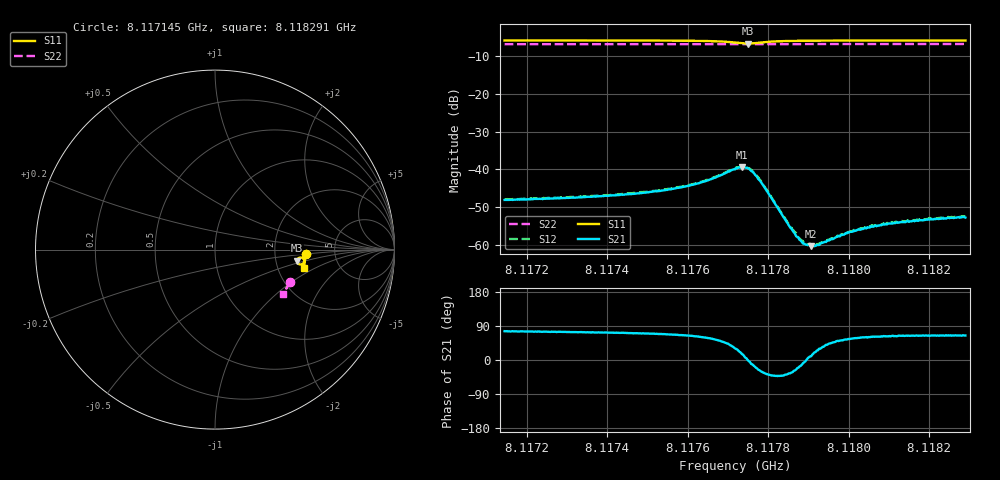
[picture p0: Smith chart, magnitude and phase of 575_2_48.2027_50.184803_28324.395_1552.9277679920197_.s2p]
#  HZ  S  RI  R  50.00
! Rohde & Schwarz Vector Network Analyzer
! Rohde-Schwarz,ZNB20-2Port,1311601062101988,3.16
! Created: UTC 3/20/2024, 12:01:51 PM
! freq[Hz]  re:S11  im:S11  re:S21  im:S21  re:S12  im:S12  re:S22  im:S22
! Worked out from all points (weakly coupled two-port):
!   401 points, 8.117145 GHz to 8.118291 GHz, reference 50 ohm
!   highest |S21| = -39.39 dB at 8.117735 GHz (marker M1); lowest = -60.3 dB at 8.117907 GHz (marker M2)
!   lowest |S11| = -6.7 dB at 8.117749 GHz (marker M3), VSWR 2.71, Z = 132 - j20.5 ohm
!   |S11| at or under -10 dB: nowhere
!   |S22| runs from -6.9 to -6.8 dB; largest |S21 - S12| = 0.00045
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8.1171448e9  0.5059 -0.0266  0.000949 0.00383  0.00102 0.0039  0.4154 -0.1782
8.1173367e9  0.5044 -0.0424  0.00119 0.00409  0.00129 0.00416  0.4102 -0.1906
8.117437e9  0.5031 -0.0513  0.00146 0.00439  0.00157 0.00447  0.4074 -0.197
8.1175286e9  0.5008 -0.0604  0.00189 0.00482  0.00197 0.00488  0.4049 -0.2031
8.1176318e9  0.4947 -0.0736  0.00323 0.00583  0.00335 0.00597  0.4015 -0.2097
8.1176719e9  0.4876 -0.0798  0.00478 0.00634  0.00487 0.00644  0.3998 -0.2123
8.1177177e9  0.4685 -0.0813  0.00859 0.00509  0.00884 0.00534  0.3978 -0.2148
8.1177349e9  0.4593 -0.073  0.0103 0.0029  0.0105 0.00298  0.397 -0.2155
8.1177492e9  0.4572 -0.061  0.0104 -2.68e-05  0.0104 0.000115  0.3967 -0.2157
8.1177607e9  0.4609 -0.0519  0.00915 -0.00186  0.00935 -0.00181  0.3964 -0.216
8.1177779e9  0.4716 -0.0447  0.0065 -0.00328  0.00666 -0.0034  0.3964 -0.217
8.1178495e9  0.4955 -0.0561  0.00153 -0.00114  0.00154 -0.00121  0.3954 -0.2219
8.1178724e9  0.4974 -0.0606  0.00119 -0.000475  0.0012 -0.000503  0.3946 -0.2235
8.1178896e9  0.4983 -0.0634  0.00104 -0.000114  0.00106 -0.000106  0.3941 -0.2246
8.1179068e9  0.4986 -0.066  0.000952 0.000161  0.000954 0.000185  0.3935 -0.2257
8.1179096e9  0.4988 -0.0665  0.000942 0.00023  0.000968 0.000233  0.3935 -0.226
8.1179239e9  0.4987 -0.0685  0.000903 0.000436  0.000916 0.000464  0.393 -0.227
8.1179984e9  0.499 -0.0772  0.000835 0.0012  0.000859 0.00121  0.3904 -0.2316
8.1180528e9  0.4985 -0.0826  0.000843 0.00148  0.000828 0.00155  0.3886 -0.235
8.1181015e9  0.4979 -0.0873  0.000866 0.00172  0.000884 0.00173  0.3871 -0.2381
8.1181989e9  0.4966 -0.0955  0.000936 0.00196  0.00095 0.00202  0.3836 -0.2441
8.1182906e9  0.495 -0.103  0.000984 0.00209  0.00102 0.00218  0.3804 -0.2497
